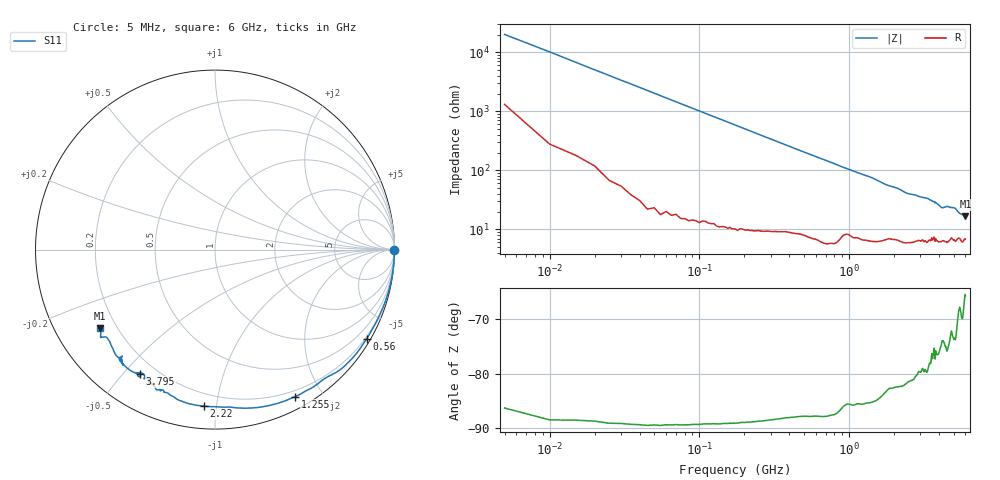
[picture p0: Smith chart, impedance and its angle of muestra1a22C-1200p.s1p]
# Hz S RI R 50.000000
! Metas.Vna.Tools, 3.0.9519.15400
! Metas.Vna.Data, 3.0.9519.15360
! Created: UTC 2026.10.24 16:02:17
! FREQ  re:S1,1  im:S1,1
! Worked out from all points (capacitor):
!   1200 points, 5 MHz to 6 GHz, reference 50 ohm
!   read as one part to ground: C = 1.57 pF near 35 MHz
!   lowest |Z| = 16.7 ohm at 6 GHz (marker M1)
!   S11 on the Smith chart (normalised r, x): 5 MHz: open; 560 MHz: 0.14, -3.67; 1.255 GHz: 0.13, -1.67; 2.22 GHz: 0.12, -0.92; 3.795 GHz: 0.14, -0.56; 6 GHz: 0.14, -0.30
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5000000  0.9997 -0.00498
2.55e8  0.9634 -0.2454
5.6e8  0.8455 -0.4967
7.55e8  0.747 -0.6239
8.8e8  0.6633 -0.6905
1.255e9  0.4458 -0.82
1.505e9  0.3035 -0.8684
1.78e9  0.1147 -0.8813
2.085e9  0.00472 -0.8756
2.22e9  -0.0638 -0.8721
2.255e9  -0.0841 -0.8701
2.465e9  -0.1791 -0.8466
2.75e9  -0.2217 -0.8261
3.005e9  -0.2842 -0.7936
3.335e9  -0.3261 -0.7797
3.58e9  -0.3824 -0.7128
3.68e9  -0.3921 -0.7031
3.755e9  -0.4298 -0.7027
3.795e9  -0.4181 -0.6923
4.155e9  -0.5324 -0.6147
4.265e9  -0.5303 -0.6087
4.505e9  -0.5147 -0.6415
4.82e9  -0.5185 -0.5951
5.12e9  -0.5385 -0.6008
5.255e9  -0.5677 -0.5558
5.47e9  -0.601 -0.492
5.745e9  -0.6372 -0.4863
6e9  -0.6414 -0.439
